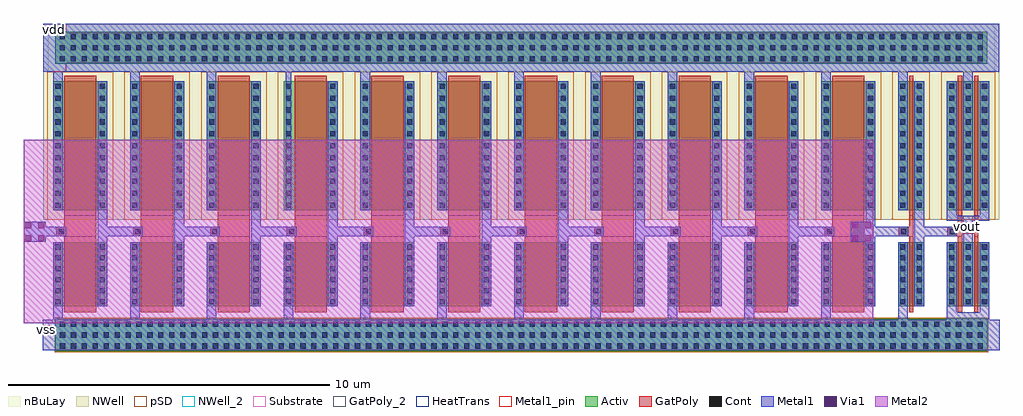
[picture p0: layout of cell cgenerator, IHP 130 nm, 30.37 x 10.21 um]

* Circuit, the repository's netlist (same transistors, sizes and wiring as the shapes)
** sch_path: /home/designer/shared/designs/SSDOR_1.2V_v3/components/cgenerator/cgenerator.sch
.subckt cgenerator vdd vout vss
*.PININFO vdd:B vss:B vout:O
MM1 net1 net2 vss vss sg13_lv_nmos w=2u l=1u ng=1 m=1
MM2 net1 net2 vdd well sg13_lv_pmos w=4u l=1u ng=1 m=1
MM3 net3 net1 vss vss sg13_lv_nmos w=2u l=1u ng=1 m=1
MM4 net3 net1 vdd well sg13_lv_pmos w=4u l=1u ng=1 m=1
MM5 net4 net3 vss vss sg13_lv_nmos w=2u l=1u ng=1 m=1
MM6 net4 net3 vdd well sg13_lv_pmos w=4u l=1u ng=1 m=1
MM7 net5 net4 vss vss sg13_lv_nmos w=2u l=1u ng=1 m=1
MM8 net5 net4 vdd well sg13_lv_pmos w=4u l=1u ng=1 m=1
MM9 net6 net5 vss vss sg13_lv_nmos w=2u l=1u ng=1 m=1
MM10 net6 net5 vdd well sg13_lv_pmos w=4u l=1u ng=1 m=1
MM11 net7 net6 vss vss sg13_lv_nmos w=2u l=1u ng=1 m=1
MM12 net7 net6 vdd well sg13_lv_pmos w=4u l=1u ng=1 m=1
MM13 net8 net7 vss vss sg13_lv_nmos w=2u l=1u ng=1 m=1
MM14 net8 net7 vdd well sg13_lv_pmos w=4u l=1u ng=1 m=1
MM15 net9 net8 vss vss sg13_lv_nmos w=2u l=1u ng=1 m=1
MM16 net9 net8 vdd well sg13_lv_pmos w=4u l=1u ng=1 m=1
MM17 net10 net9 vss vss sg13_lv_nmos w=2u l=1u ng=1 m=1
MM18 net10 net9 vdd well sg13_lv_pmos w=4u l=1u ng=1 m=1
MM19 net11 net10 vss vss sg13_lv_nmos w=2u l=1u ng=1 m=1
MM20 net11 net10 vdd well sg13_lv_pmos w=4u l=1u ng=1 m=1
MM21 net2 net11 vss vss sg13_lv_nmos w=2u l=1u ng=1 m=1
MM22 net2 net11 vdd well sg13_lv_pmos w=4u l=1u ng=1 m=1
MM23 net12 net2 vss vss sg13_lv_nmos w=2u l=0.13u ng=1 m=1
MM24 net12 net2 vdd well sg13_lv_pmos w=4u l=0.13u ng=1 m=1
MM26 vout net12 vdd well sg13_lv_pmos w=8u l=0.13u ng=2 m=1
MM25 vout net12 vss vss sg13_lv_nmos w=4u l=0.13u ng=2 m=1
RR1 vdd well ntap1 A=2.9e-11 P=6e-05
.ends

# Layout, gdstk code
import gdstk
lib = gdstk.Library(unit=1e-6, precision=5e-09)
def R(c, l, rs):  # rectangles x0, y0, x1, y1
    for r in rs: c.add(gdstk.rectangle(r[:2], r[2:], *l))
def A(c, l, x, y, w, h, nx, ny, dx, dy):  # array of equal rectangles
    R(c, l, [(x+i*dx, y+j*dy, x+i*dx+w, y+j*dy+h) for i in range(nx) for j in range(ny)])
def P(c, l, *ps):  # polygons
    for p in ps: c.add(gdstk.Polygon(p, *l))
Activ = (1, 0)
GatPoly = (5, 0)
GatPoly_2 = (5, 2)
Cont = (6, 0)
Metal1 = (8, 0)
Metal1_pin = (8, 2)
Metal2 = (10, 0)
pSD = (14, 0)
Via1 = (19, 0)
NWell = (31, 0)
NWell_2 = (31, 2)
nBuLay = (32, 0)
Substrate = (40, 0)
HeatTrans = (51, 0)

nmos = lib.new_cell('nmos')
R(nmos, Activ, [(0,0,0.3,0.3), (0,0,1.68,2), (1.38,0,1.68,0.3)])
R(nmos, GatPoly, [(0.34,-0.18,1.34,2.18)])
R(nmos, GatPoly_2, [(0.34,-0.18,1.34,2.18)])
A(nmos, Cont, 0.07, 0.07, 0.16, 0.16, 1, 6, 0, 0.34)
A(nmos, Cont, 1.45, 0.07, 0.16, 0.16, 1, 6, 0, 0.34)
R(nmos, Metal1, [(0.07,0,0.23,2), (1.45,0,1.61,2)])
R(nmos, Metal1_pin, [(0.07,0,0.23,2), (1.45,0,1.61,2)])
R(nmos, HeatTrans, [(0.34,-0.18,1.34,2.18)])
nmos.add(gdstk.Label('nmos', (0.84,1), layer=63, texttype=0))
nmos.add(gdstk.Label('nmos', (0.84,1), layer=51, texttype=0))

pmos = lib.new_cell('pmos')
R(pmos, Activ, [(0,0,0.3,0.3), (0,0,1.68,4), (1.38,0,1.68,0.3)])
R(pmos, GatPoly, [(0.34,-0.18,1.34,4.18), (0.34,-0.18,1.34,4.18)])
A(pmos, Cont, 0.07, 0.07, 0.16, 0.16, 1, 11, 0, 0.37)
A(pmos, Cont, 1.45, 0.07, 0.16, 0.16, 1, 11, 0, 0.37)
R(pmos, Metal1, [(0.07,0,0.23,4), (0.07,0,0.23,4), (1.45,0,1.61,4), (1.45,0,1.61,4)])
R(pmos, pSD, [(-0.18,-0.3,1.86,4.3)])
R(pmos, NWell, [(-0.31,-0.31,1.99,4.31)])
R(pmos, Substrate, [(1.38,0,1.68,0.3)])
R(pmos, HeatTrans, [(0.34,-0.18,1.34,4.18)])
pmos.add(gdstk.Label('pmos', (0.84,2), layer=63, texttype=0))
pmos.add(gdstk.Label('pmos', (0.84,2), layer=51, texttype=0))

via_stack_1 = lib.new_cell('via_stack$1')
R(via_stack_1, Metal1, [(-0.35,-0.31,0.35,0.31)])
R(via_stack_1, Metal2, [(-0.35,-0.305,0.35,0.305)])
R(via_stack_1, Via1, [(-0.3,-0.3,-0.11,-0.11), (0.11,-0.3,0.3,-0.11), (-0.3,0.11,-0.11,0.3), (0.11,0.11,0.3,0.3)])

nmos_1 = lib.new_cell('nmos$1')
A(nmos_1, Activ, 0, 0, 0.3, 0.3, 3, 1, 0.51, 0)
R(nmos_1, Activ, [(0,0,1.32,2)])
R(nmos_1, GatPoly, [(0.34,-0.18,0.47,2.18), (0.85,-0.18,0.98,2.18)])
R(nmos_1, GatPoly_2, [(0.34,-0.18,0.47,2.18)])
A(nmos_1, Cont, 0.07, 0.07, 0.16, 0.16, 3, 6, 0.51, 0.34)
A(nmos_1, Metal1, 0.07, 0, 0.16, 2, 3, 1, 0.51, 0)
R(nmos_1, Metal1_pin, [(0.07,0,0.23,2), (0.58,0,0.74,2)])
R(nmos_1, HeatTrans, [(0.34,-0.18,0.47,2.18), (0.85,-0.18,0.98,2.18)])
nmos_1.add(gdstk.Label('nmos', (0.405,1), layer=63, texttype=0))
nmos_1.add(gdstk.Label('nmos', (0.405,1), layer=51, texttype=0))
nmos_1.add(gdstk.Label('nmos', (0.915,1), layer=51, texttype=0))

pmos_1 = lib.new_cell('pmos$1')
A(pmos_1, Activ, 0, 0, 0.3, 0.3, 3, 1, 0.51, 0)
R(pmos_1, Activ, [(0,0,1.32,4)])
R(pmos_1, GatPoly, [(0.34,-0.18,0.47,4.18), (0.34,-0.18,0.47,4.18), (0.85,-0.18,0.98,4.18)])
A(pmos_1, Cont, 0.07, 0.07, 0.16, 0.16, 3, 11, 0.51, 0.37)
R(pmos_1, Metal1, [(0.07,0,0.23,4), (0.07,0,0.23,4), (0.58,0,0.74,4), (0.58,0,0.74,4), (1.09,0,1.25,4)])
R(pmos_1, pSD, [(-0.18,-0.3,1.5,4.3)])
R(pmos_1, NWell, [(-0.31,-0.31,1.63,4.31)])
R(pmos_1, Substrate, [(1.02,0,1.32,0.3)])
R(pmos_1, HeatTrans, [(0.34,-0.18,0.47,4.18), (0.85,-0.18,0.98,4.18)])
pmos_1.add(gdstk.Label('pmos', (0.405,2), layer=63, texttype=0))
pmos_1.add(gdstk.Label('pmos', (0.405,2), layer=51, texttype=0))
pmos_1.add(gdstk.Label('pmos', (0.915,2), layer=51, texttype=0))

nmos_2 = lib.new_cell('nmos$2')
R(nmos_2, Activ, [(0,0,0.3,0.3), (0,0,0.81,2), (0.51,0,0.81,0.3)])
R(nmos_2, GatPoly, [(0.34,-0.18,0.47,2.18)])
R(nmos_2, GatPoly_2, [(0.34,-0.18,0.47,2.18)])
A(nmos_2, Cont, 0.07, 0.07, 0.16, 0.16, 1, 6, 0, 0.34)
A(nmos_2, Cont, 0.58, 0.07, 0.16, 0.16, 1, 6, 0, 0.34)
R(nmos_2, Metal1, [(0.07,0,0.23,2), (0.58,0,0.74,2)])
R(nmos_2, Metal1_pin, [(0.07,0,0.23,2), (0.58,0,0.74,2)])
R(nmos_2, HeatTrans, [(0.34,-0.18,0.47,2.18)])
nmos_2.add(gdstk.Label('nmos', (0.405,1), layer=63, texttype=0))
nmos_2.add(gdstk.Label('nmos', (0.405,1), layer=51, texttype=0))

pmos_2 = lib.new_cell('pmos$2')
R(pmos_2, Activ, [(0,0,0.3,0.3), (0,0,0.81,4), (0.51,0,0.81,0.3)])
R(pmos_2, GatPoly, [(0.34,-0.18,0.47,4.18), (0.34,-0.18,0.47,4.18)])
A(pmos_2, Cont, 0.07, 0.07, 0.16, 0.16, 1, 11, 0, 0.37)
A(pmos_2, Cont, 0.58, 0.07, 0.16, 0.16, 1, 11, 0, 0.37)
R(pmos_2, Metal1, [(0.07,0,0.23,4), (0.07,0,0.23,4), (0.58,0,0.74,4), (0.58,0,0.74,4)])
R(pmos_2, pSD, [(-0.18,-0.3,0.99,4.3)])
R(pmos_2, NWell, [(-0.31,-0.31,1.12,4.31)])
R(pmos_2, Substrate, [(0.51,0,0.81,0.3)])
R(pmos_2, HeatTrans, [(0.34,-0.18,0.47,4.18)])
pmos_2.add(gdstk.Label('pmos', (0.405,2), layer=63, texttype=0))
pmos_2.add(gdstk.Label('pmos', (0.405,2), layer=51, texttype=0))

ntap1 = lib.new_cell('ntap1')
R(ntap1, Activ, [(0,0,29,1)])
A(ntap1, Cont, 0.14, 0.08, 0.16, 0.16, 85, 3, 0.34, 0.34)
R(ntap1, Metal1, [(0.14,0.03,28.86,0.97)])
R(ntap1, Metal1_pin, [(0.14,0.03,28.86,0.97), (0.14,0.08,28.86,0.92)])
R(ntap1, NWell, [(-0.24,-0.24,29.24,1.24), (0,0,29,1)])
R(ntap1, NWell_2, [(0,0,29,1)])
R(ntap1, nBuLay, [(-0.24,-0.24,29.24,1.24)])
ntap1.add(gdstk.Label('well', (14.5,0.01), layer=31, texttype=0))
ntap1.add(gdstk.Label('well', (14.5,0.01), layer=63, texttype=0))

cgenerator = lib.new_cell('cgenerator')
R(cgenerator, Activ, [(-0.365,-2.255,28.635,-1.255)])
A(cgenerator, GatPoly, -0.095, -1.045, 1, 7.36, 11, 1, 2.39, 0)
A(cgenerator, GatPoly, -0.335, 1.315, 0.3, 0.3, 11, 1, 2.39, 0)
R(cgenerator, GatPoly, [(26.195,-1.045,26.325,6.315), (27.715,-1.045,27.845,6.315), (28.225,-1.045,28.355,6.315), (25.875,1.315,26.325,1.615), (27.385,1.315,27.845,1.615), (27.715,1.4,28.355,1.53)])
A(cgenerator, Cont, -0.225, -2.175, 0.16, 0.16, 85, 3, 0.34, 0.34)
A(cgenerator, Cont, -0.265, 1.385, 0.16, 0.16, 11, 1, 2.39, 0)
R(cgenerator, Cont, [(25.945,1.385,26.105,1.545), (27.455,1.385,27.615,1.545)])
A(cgenerator, Metal1, -0.435, -1.46, 0.3, 2.595, 12, 1, 2.39, 0)
A(cgenerator, Metal1, -0.435, 2.135, 0.3, 4.38, 3, 1, 2.39, 0)
A(cgenerator, Metal1, 9.125, 2.135, 0.3, 4.38, 8, 1, 2.39, 0)
R(cgenerator, Metal1, [(-0.76,-2.225,29.01,-1.285), (-1.36,1.315,-0.035,1.615), (6.805,2.135,6.965,6.515), (27.885,2.135,28.185,6.52), (-0.745,6.445,29.005,7.925)])
P(cgenerator, Metal1, [(0.945,-0.865),(0.945,6.135),(1.245,6.135),(1.245,1.615),(2.355,1.615),(2.355,1.315),(1.245,1.315),(1.245,-0.865)],
  [(3.335,-0.865),(3.335,6.135),(3.635,6.135),(3.635,1.615),(4.745,1.615),(4.745,1.315),(3.635,1.315),(3.635,-0.865)],
  [(5.725,-0.865),(5.725,6.135),(6.025,6.135),(6.025,1.615),(7.135,1.615),(7.135,1.315),(6.025,1.315),(6.025,-0.865)],
  [(8.115,-0.865),(8.115,6.135),(8.415,6.135),(8.415,1.615),(9.525,1.615),(9.525,1.315),(8.415,1.315),(8.415,-0.865)],
  [(10.505,-0.865),(10.505,6.135),(10.805,6.135),(10.805,1.615),(11.915,1.615),(11.915,1.315),(10.805,1.315),(10.805,-0.865)],
  [(12.895,-0.865),(12.895,6.135),(13.195,6.135),(13.195,1.615),(14.305,1.615),(14.305,1.315),(13.195,1.315),(13.195,-0.865)],
  [(15.285,-0.865),(15.285,6.135),(15.585,6.135),(15.585,1.615),(16.695,1.615),(16.695,1.315),(15.585,1.315),(15.585,-0.865)],
  [(17.675,-0.865),(17.675,6.135),(17.975,6.135),(17.975,1.615),(19.085,1.615),(19.085,1.315),(17.975,1.315),(17.975,-0.865)],
  [(20.065,-0.865),(20.065,6.135),(20.365,6.135),(20.365,1.615),(21.475,1.615),(21.475,1.315),(20.365,1.315),(20.365,-0.865)],
  [(22.455,-0.865),(22.455,6.135),(22.755,6.135),(22.755,1.615),(23.865,1.615),(23.865,1.315),(22.755,1.315),(22.755,-0.865)],
  [(26.365,-0.865),(26.365,6.135),(26.665,6.135),(26.665,1.615),(27.685,1.615),(27.685,1.315),(26.665,1.315),(26.665,-0.865)],
  [(24.845,-0.865),(24.845,6.135),(25.145,6.135),(25.145,1.615),(26.165,1.615),(26.165,1.315),(25.145,1.315),(25.145,-0.865)],
  [(27.375,-1.52),(27.375,1.135),(27.675,1.135),(27.675,-1.045),(28.395,-1.045),(28.395,1.135),(28.695,1.135),(28.695,-1.52)],
  [(27.885,-0.865),(27.885,1.795),(27.375,1.795),(27.375,6.135),(27.675,6.135),(27.675,1.955),(28.395,1.955),(28.395,6.135),(28.695,6.135),(28.695,1.795),(28.185,1.795),(28.185,-0.865)])
R(cgenerator, Metal1_pin, [(-0.76,-1.745,-0.465,-1.455), (27.885,-0.865,28.185,1.955), (-0.745,6.445,-0.025,7.925)])
R(cgenerator, Metal2, [(-1.36,-1.385,25.075,4.315)])
R(cgenerator, pSD, [(-0.395,-2.285,28.665,-1.225)])
R(cgenerator, NWell, [(-0.745,1.825,29.005,7.925)])
cgenerator.add(gdstk.Reference(nmos, (-0.435,-0.865)))
cgenerator.add(gdstk.Reference(pmos, (-0.435,2.135)))
cgenerator.add(gdstk.Reference(nmos, (1.955,-0.865)))
cgenerator.add(gdstk.Reference(pmos, (1.955,2.135)))
cgenerator.add(gdstk.Reference(nmos, (4.345,-0.865)))
cgenerator.add(gdstk.Reference(pmos, (4.345,2.135)))
cgenerator.add(gdstk.Reference(nmos, (6.735,-0.865)))
cgenerator.add(gdstk.Reference(pmos, (6.735,2.135)))
cgenerator.add(gdstk.Reference(nmos, (9.125,-0.865)))
cgenerator.add(gdstk.Reference(pmos, (9.125,2.135)))
cgenerator.add(gdstk.Reference(nmos, (11.515,-0.865)))
cgenerator.add(gdstk.Reference(pmos, (11.515,2.135)))
cgenerator.add(gdstk.Reference(nmos, (13.905,-0.865)))
cgenerator.add(gdstk.Reference(pmos, (13.905,2.135)))
cgenerator.add(gdstk.Reference(nmos, (16.295,-0.865)))
cgenerator.add(gdstk.Reference(pmos, (16.295,2.135)))
cgenerator.add(gdstk.Reference(nmos, (18.685,-0.865)))
cgenerator.add(gdstk.Reference(pmos, (18.685,2.135)))
cgenerator.add(gdstk.Reference(nmos, (21.075,-0.865)))
cgenerator.add(gdstk.Reference(pmos, (21.075,2.135)))
cgenerator.add(gdstk.Reference(nmos, (23.465,-0.865)))
cgenerator.add(gdstk.Reference(pmos, (23.465,2.135)))
cgenerator.add(gdstk.Reference(via_stack_1, (24.725,1.465)))
cgenerator.add(gdstk.Reference(nmos_1, (27.375,-0.865)))
cgenerator.add(gdstk.Reference(pmos_1, (27.375,2.135)))
cgenerator.add(gdstk.Reference(nmos_2, (25.855,-0.865)))
cgenerator.add(gdstk.Reference(pmos_2, (25.855,2.135)))
cgenerator.add(gdstk.Reference(ntap1, (-0.37,6.685)))
cgenerator.add(gdstk.Reference(via_stack_1, (-1.01,1.46)))
cgenerator.add(gdstk.Label('vdd', (-0.405,7.755), layer=8, texttype=25))
cgenerator.add(gdstk.Label('vss', (-0.64,-1.585), layer=8, texttype=25))
cgenerator.add(gdstk.Label('vout', (28,1.615), layer=8, texttype=25))

lib.write_gds('cgenerator.gds')
